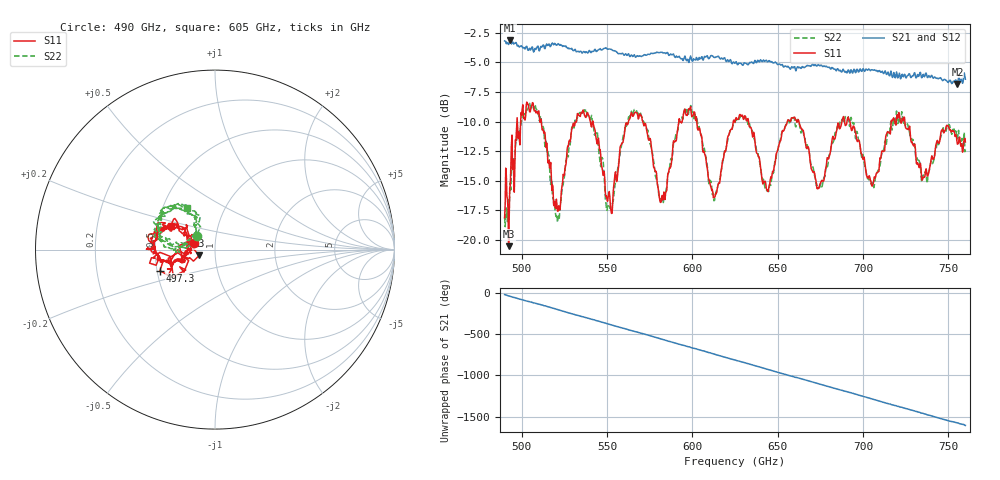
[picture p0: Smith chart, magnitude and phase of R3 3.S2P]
! Python used to change reference impedance from 50 to 1.
# Hz S RI R 1
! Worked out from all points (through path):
!   811 points, 490 GHz to 760 GHz, reference 1 ohm
!   highest |S21| = -3.15 dB at 493 GHz (marker M1); lowest = -6.8 dB at 755.3 GHz (marker M2)
!   group delay of S21, straight-line fit = 16.3 ps
!   lowest |S11| = -20.5 dB at 492.3 GHz (marker M3), VSWR 1.21, Z = 0.836 - j0.0551 ohm
!   |S11| at or under -10 dB: 662.4 GHz to 687.6 GHz (25.21 GHz wide, 3.73 % of centre); 692.4 GHz to 716.6 GHz (24.23 GHz wide, 3.44 % of centre); 724.5 GHz to end of sweep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
!   |S22| runs from -18.9 to -8.5 dB; largest |S21 - S12| = 0.15
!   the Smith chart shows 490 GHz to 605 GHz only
!   S11 on the Smith chart (normalised r, x): 490 GHz: 0.79, +0.06; 497.3 GHz: 0.52, -0.14; 605 GHz: 0.59, +0.17
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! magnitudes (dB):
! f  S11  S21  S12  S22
! 490 GHz  -18.1  -3.2  -3.1  -18.1
! 492.3 GHz  -20.5  -3.5  -3.1  -17.6
! 493 GHz  -15.6  -3.1  -2.9  -16.0
! 497.3 GHz  -9.7  -3.6  -3.5  -11.2
! 508.7 GHz  -9.2  -3.8  -3.8  -9.0
! 521 GHz  -17.6  -3.5  -3.5  -18.5
! 535 GHz  -9.2  -4.1  -4.1  -9.2
! 550.7 GHz  -16.4  -3.9  -3.9  -17.1
! 566.7 GHz  -9.2  -4.6  -4.6  -9.1
! 580 GHz  -15.7  -4.2  -4.2  -15.7
! 596 GHz  -9.3  -4.6  -4.6  -9.1
! 605 GHz  -11.2  -4.6  -4.6  -11.0
! 613 GHz  -16.4  -4.6  -4.6  -16.7
! 625 GHz  -10.1  -5.1  -5.1  -10.0
! 643.7 GHz  -15.8  -4.9  -4.9  -15.9
! 659 GHz  -9.7  -5.5  -5.5  -9.9
! 670 GHz  -14.1  -5.2  -5.2  -13.7
! 690.3 GHz  -10.2  -5.9  -5.9  -9.6
! 705.7 GHz  -15.4  -5.6  -5.6  -15.2
! 715 GHz  -10.9  -5.9  -6.0  -10.8
! 755.3 GHz  -11.9  -6.8  -6.8  -11.4
! 760 GHz  -11.7  -6.4  -6.6  -12.4
